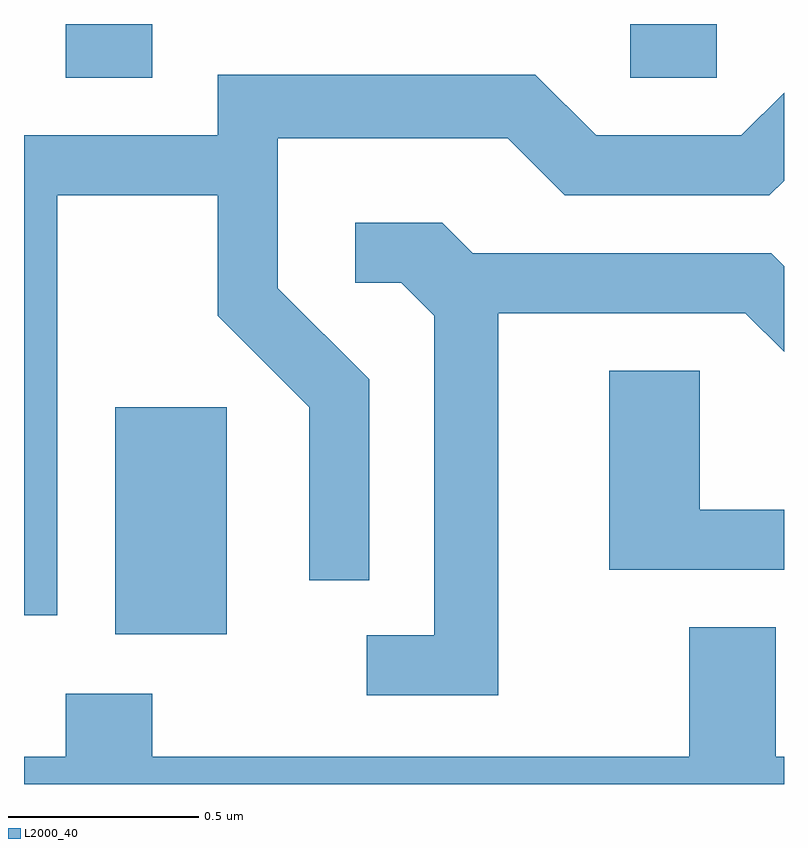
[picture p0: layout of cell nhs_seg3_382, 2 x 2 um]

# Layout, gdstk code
import gdstk
lib = gdstk.Library(unit=1e-6, precision=1e-09)
def R(c, l, rs):  # rectangles x0, y0, x1, y1
    for r in rs: c.add(gdstk.rectangle(r[:2], r[2:], *l))
def P(c, l, *ps):  # polygons
    for p in ps: c.add(gdstk.Polygon(p, *l))
L2000_40 = (2000, 40)

nhs_seg3_382 = lib.new_cell('nhs_seg3_382')
R(nhs_seg3_382, L2000_40, [(187.851,1224.286,188.144,1224.884), (187.721,1225.751,187.949,1225.892), (189.206,1225.751,189.434,1225.892)])
P(nhs_seg3_382, L2000_40, [(187.699,1225.441),(188.121,1225.441),(188.121,1225.124),(188.361,1224.884),(188.361,1224.428),(188.519,1224.428),(188.519,1224.957),(188.279,1225.197),(188.279,1225.591),(188.884,1225.591),(189.034,1225.441),(189.572,1225.441),(189.611,1225.48),(189.611,1225.711),(189.499,1225.599),(189.117,1225.599),(188.957,1225.759),(188.121,1225.759),(188.121,1225.599),(187.611,1225.599),(187.611,1224.336),(187.699,1224.336)],
  [(188.859,1225.131),(189.509,1225.131),(189.611,1225.029),(189.611,1225.255),(189.577,1225.289),(188.792,1225.289),(188.712,1225.369),(188.483,1225.369),(188.483,1225.211),(188.604,1225.211),(188.691,1225.124),(188.691,1224.284),(188.513,1224.284),(188.513,1224.126),(188.859,1224.126)],
  [(189.611,1224.614),(189.389,1224.614),(189.389,1224.979),(189.151,1224.979),(189.151,1224.456),(189.611,1224.456)],
  [(189.611,1223.964),(189.589,1223.964),(189.589,1224.304),(189.361,1224.304),(189.361,1223.964),(187.949,1223.964),(187.949,1224.129),(187.721,1224.129),(187.721,1223.964),(187.611,1223.964),(187.611,1223.892),(189.611,1223.892)])

lib.write_gds('nhs_seg3_382.gds')
